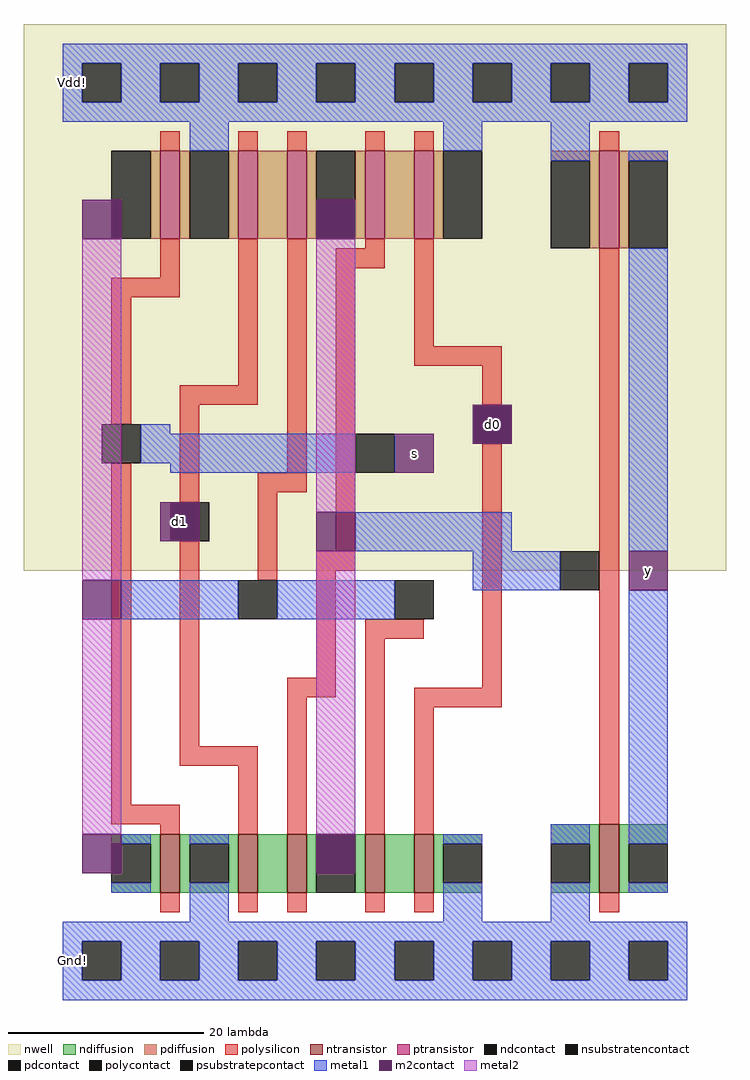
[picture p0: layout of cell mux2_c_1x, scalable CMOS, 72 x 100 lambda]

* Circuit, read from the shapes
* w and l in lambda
.subckt mux2_c_1x Gnd! Vdd! d0 d1 s y
M1 Gnd! s n1 Gnd! nfet w=6 l=2
M2 n2 d1 Gnd! Gnd! nfet w=6 l=2
M3 n3 s n2 Gnd! nfet w=6 l=2
M4 n4 n1 n3 Gnd! nfet w=6 l=2
M5 Gnd! d0 n4 Gnd! nfet w=6 l=2
M6 y n3 Gnd! Gnd! nfet w=7 l=2
M7 Vdd! s n1 Vdd! pfet w=9 l=2
M8 n5 d1 Vdd! Vdd! pfet w=9 l=2
M9 n3 n1 n5 Vdd! pfet w=9 l=2
M10 n6 s n3 Vdd! pfet w=9 l=2
M11 Vdd! d0 n6 Vdd! pfet w=9 l=2
M12 y n3 Vdd! Vdd! pfet w=10 l=2
.ends

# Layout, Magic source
magic
tech scmos
<< nwell >>
rect -6 40 66 96
<< ntransistor >>
rect 8 7 10 13
rect 16 7 18 13
rect 21 7 23 13
rect 29 7 31 13
rect 34 7 36 13
rect 53 7 55 14
<< ptransistor >>
rect 8 74 10 83
rect 16 74 18 83
rect 21 74 23 83
rect 29 74 31 83
rect 34 74 36 83
rect 53 73 55 83
<< ndiffusion >>
rect 3 12 8 13
rect 7 8 8 12
rect 3 7 8 8
rect 10 12 16 13
rect 10 8 11 12
rect 15 8 16 12
rect 10 7 16 8
rect 18 7 21 13
rect 23 7 24 13
rect 28 7 29 13
rect 31 7 34 13
rect 36 12 41 13
rect 36 8 37 12
rect 36 7 41 8
rect 48 12 53 14
rect 52 8 53 12
rect 48 7 53 8
rect 55 12 60 14
rect 55 8 56 12
rect 55 7 60 8
<< pdiffusion >>
rect 7 74 8 83
rect 10 74 11 83
rect 15 74 16 83
rect 18 74 21 83
rect 23 74 24 83
rect 28 74 29 83
rect 31 74 34 83
rect 36 74 37 83
rect 48 82 53 83
rect 52 73 53 82
rect 55 82 60 83
rect 55 73 56 82
<< ndcontact >>
rect 3 8 7 12
rect 11 8 15 12
rect 24 7 28 13
rect 37 8 41 12
rect 48 8 52 12
rect 56 8 60 12
<< pdcontact >>
rect 3 74 7 83
rect 11 74 15 83
rect 24 74 28 83
rect 37 74 41 83
rect 48 73 52 82
rect 56 73 60 82
<< psubstratepcontact >>
rect 0 -2 4 2
rect 8 -2 12 2
rect 16 -2 20 2
rect 24 -2 28 2
rect 32 -2 36 2
rect 40 -2 44 2
rect 48 -2 52 2
rect 56 -2 60 2
<< nsubstratencontact >>
rect 0 88 4 92
rect 8 88 12 92
rect 16 88 20 92
rect 24 88 28 92
rect 32 88 36 92
rect 40 88 44 92
rect 48 88 52 92
rect 56 88 60 92
<< polysilicon >>
rect 8 83 10 85
rect 16 83 18 85
rect 21 83 23 85
rect 29 83 31 85
rect 34 83 36 85
rect 53 83 55 85
rect 8 70 10 74
rect 3 68 10 70
rect 3 55 5 68
rect 16 59 18 74
rect 10 57 18 59
rect 3 16 5 51
rect 10 47 12 57
rect 21 50 23 74
rect 29 73 31 74
rect 18 48 23 50
rect 26 71 31 73
rect 10 22 12 43
rect 18 39 20 48
rect 26 42 28 71
rect 34 63 36 74
rect 34 61 43 63
rect 41 57 43 61
rect 24 40 28 42
rect 24 29 26 40
rect 21 27 26 29
rect 29 33 35 35
rect 10 20 18 22
rect 3 14 10 16
rect 8 13 10 14
rect 16 13 18 20
rect 21 13 23 27
rect 29 13 31 33
rect 41 28 43 53
rect 34 26 43 28
rect 34 13 36 26
rect 53 14 55 73
rect 8 5 10 7
rect 16 5 18 7
rect 21 5 23 7
rect 29 5 31 7
rect 34 5 36 7
rect 53 5 55 7
<< polycontact >>
rect 2 51 6 55
rect 9 43 13 47
rect 28 50 32 54
rect 40 53 44 57
rect 16 35 20 39
rect 32 35 36 39
rect 49 38 53 42
<< metal1 >>
rect -2 92 62 94
rect -2 88 0 92
rect 4 88 8 92
rect 12 88 16 92
rect 20 88 24 92
rect 28 88 32 92
rect 36 88 40 92
rect 44 88 48 92
rect 52 88 56 92
rect 60 88 62 92
rect -2 86 62 88
rect 11 83 15 86
rect 37 83 41 86
rect 48 82 52 86
rect 56 82 60 83
rect 6 54 9 55
rect 6 51 28 54
rect 9 50 28 51
rect 28 42 44 46
rect 56 42 60 73
rect 4 35 16 39
rect 20 35 32 39
rect 40 38 49 42
rect 4 12 7 13
rect 3 7 7 8
rect 11 12 15 13
rect 11 4 15 8
rect 37 12 41 13
rect 37 4 41 8
rect 48 12 52 14
rect 48 4 52 8
rect 56 12 60 38
rect 56 7 60 8
rect -2 2 62 4
rect -2 -2 0 2
rect 4 -2 8 2
rect 12 -2 16 2
rect 20 -2 24 2
rect 28 -2 32 2
rect 36 -2 40 2
rect 44 -2 48 2
rect 52 -2 56 2
rect 60 -2 62 2
rect -2 -4 62 -2
<< m2contact >>
rect 0 74 3 78
rect 3 74 4 78
rect 24 74 28 78
rect 32 50 36 54
rect 40 53 44 57
rect 8 43 9 47
rect 9 43 12 47
rect 24 42 28 46
rect 0 35 4 39
rect 56 38 60 42
rect 0 12 4 13
rect 0 9 3 12
rect 3 9 4 12
rect 24 9 28 13
<< metal2 >>
rect 0 39 4 74
rect 24 46 28 74
rect 0 13 4 35
rect 24 13 28 42
<< labels >>
rlabel m2contact 10 45 10 45 1 d1
rlabel m2contact 34 52 34 52 1 s
rlabel m2contact 42 55 42 55 1 d0
rlabel m2contact 58 40 58 40 1 y
rlabel metal1 -1 90 -1 90 3 Vdd!
rlabel metal1 -1 0 -1 0 2 Gnd!
<< end >>
